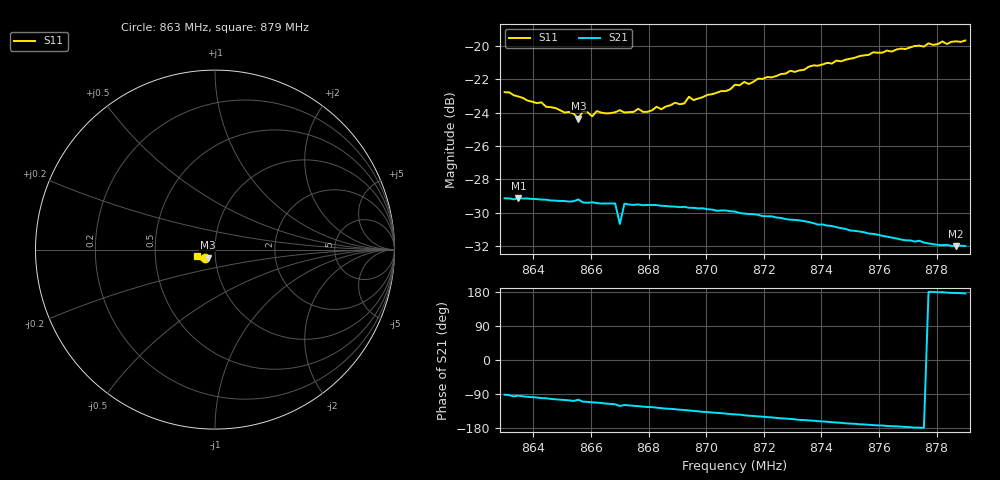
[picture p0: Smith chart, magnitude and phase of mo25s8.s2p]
# HZ S RI R 50
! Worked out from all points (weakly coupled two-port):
!   101 points, 863 MHz to 879 MHz, reference 50 ohm
!   highest |S21| = -29.13 dB at 863.48 MHz (marker M1); lowest = -32.0 dB at 878.68 MHz (marker M2)
!   lowest |S11| = -24.4 dB at 865.56 MHz (marker M3), VSWR 1.13, Z = 46 - j4.22 ohm
!   |S11| at or under -10 dB: start of sweep to end of sweep
!   S12 and S22 are empty: the file has one direction only
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8.63e8  -0.0555 -0.0467  -0.000913 -0.0349  0 0  0 0
8.6348e8  -0.0522 -0.0474  -0.00241 -0.0349  0 0  0 0
8.6524e8  -0.0449 -0.0447  -0.00968 -0.0328  0 0  0 0
8.6556e8  -0.0396 -0.0457  -0.00892 -0.0335  0 0  0 0
8.6572e8  -0.0437 -0.0463  -0.0116 -0.0319  0 0  0 0
8.6604e8  -0.0418 -0.0451  -0.0127 -0.0315  0 0  0 0
8.662e8  -0.0433 -0.0468  -0.0128 -0.0313  0 0  0 0
8.6684e8  -0.0409 -0.0482  -0.0152 -0.0301  0 0  0 0
8.67e8  -0.0428 -0.0477  -0.0152 -0.025  0 0  0 0
8.6716e8  -0.0406 -0.0483  -0.0163 -0.0295  0 0  0 0
8.6828e8  -0.0398 -0.0522  -0.0195 -0.0271  0 0  0 0
8.6844e8  -0.0392 -0.0513  -0.02 -0.0265  0 0  0 0
8.6892e8  -0.0404 -0.0541  -0.0212 -0.0253  0 0  0 0
8.6924e8  -0.0402 -0.0538  -0.0221 -0.0245  0 0  0 0
8.694e8  -0.0421 -0.0564  -0.0224 -0.0239  0 0  0 0
8.6956e8  -0.0418 -0.0546  -0.0229 -0.0234  0 0  0 0
8.7068e8  -0.0446 -0.0579  -0.0251 -0.02  0 0  0 0
8.71e8  -0.0471 -0.0601  -0.0256 -0.019  0 0  0 0
8.7372e8  -0.0616 -0.0619  -0.0277 -0.01  0 0  0 0
8.7644e8  -0.0809 -0.0517  -0.0265 -0.00245  0 0  0 0
8.7868e8  -0.096 -0.0376  -0.0251 0.00135  0 0  0 0
8.79e8  -0.0979 -0.0342  -0.0251 0.00187  0 0  0 0
